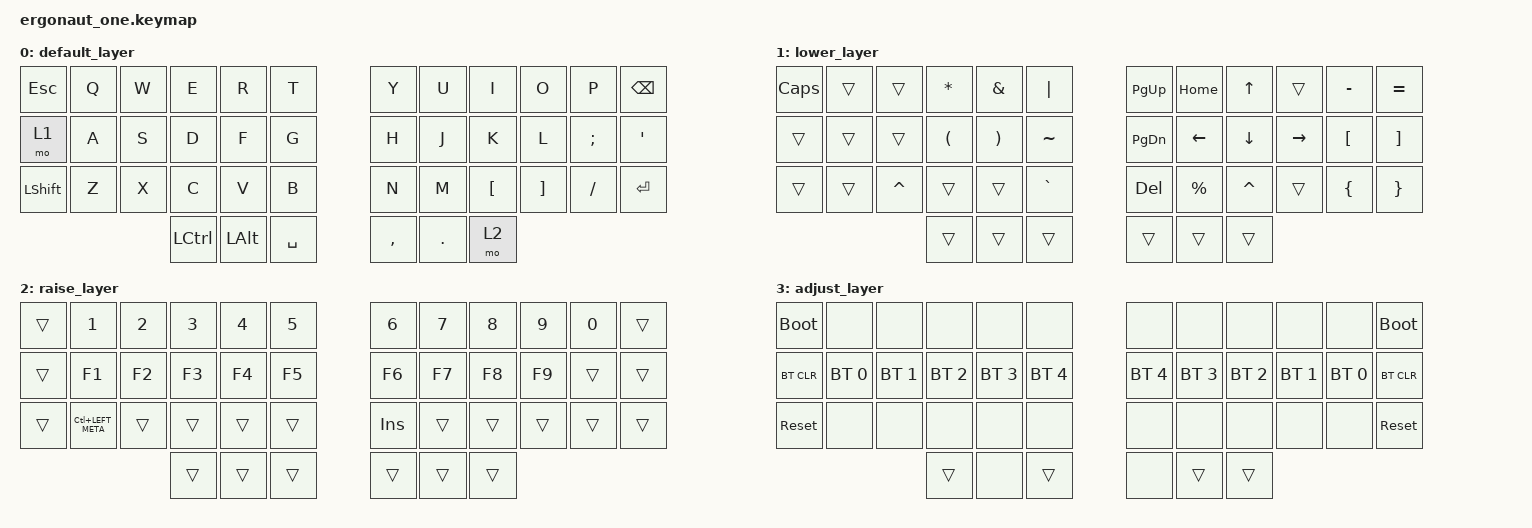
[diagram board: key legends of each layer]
#include <behaviors.dtsi>
#include <dt-bindings/zmk/bt.h>
#include <dt-bindings/zmk/keys.h>

#define DEF 0
#define LWR 1
#define RSE 2
#define ADJ 3

&lt { quick-tap-ms = <200>; };

&mt { quick-tap-ms = <200>; };

/ {
    conditional_layers {
        compatible = "zmk,conditional-layers";

        tri-layer {
            if-layers = <1 2>;
            then-layer = <3>;
        };
    };

    keymap {
        compatible = "zmk,keymap";

        default_layer {
            bindings = <
&kp ESC         &kp Q  &kp W  &kp E      &kp R         &kp T      &kp Y      &kp U       &kp I             &kp O              &kp P     &kp BACKSPACE
&mo 1           &kp A  &kp S  &kp D      &kp F         &kp G      &kp H      &kp J       &kp K             &kp L              &kp SEMI  &kp APOS
&kp LEFT_SHIFT  &kp Z  &kp X  &kp C      &kp V         &kp B      &kp N      &kp M       &kp LEFT_BRACKET  &kp RIGHT_BRACKET  &kp FSLH  &kp ENTER
                              &kp LCTRL  &kp LEFT_ALT  &kp SPACE  &kp COMMA  &kp PERIOD  &mo 2
            >;
        };

        lower_layer {
            bindings = <
&kp CAPS  &trans  &trans     &kp ASTERISK          &kp AMPERSAND          &kp PIPE   &kp PAGE_UP    &kp HOME        &kp UP_ARROW    &trans           &kp MINUS         &kp EQUAL
&trans    &trans  &trans     &kp LEFT_PARENTHESIS  &kp RIGHT_PARENTHESIS  &kp TILDE  &kp PAGE_DOWN  &kp LEFT_ARROW  &kp DOWN_ARROW  &kp RIGHT_ARROW  &kp LEFT_BRACKET  &kp RIGHT_BRACKET
&trans    &trans  &kp CARET  &trans                &trans                 &kp GRAVE  &kp DEL        &kp PERCENT     &kp CARET       &trans           &kp LEFT_BRACE    &kp RIGHT_BRACE
                             &trans                &trans                 &trans     &trans         &trans          &trans
            >;
        };

        raise_layer {
            bindings = <
&trans  &kp NUMBER_1       &kp NUMBER_2  &kp NUMBER_3  &kp NUMBER_4  &kp N5  &kp NUMBER_6  &kp N7  &kp N8  &kp N9  &kp NUMBER_0  &trans
&trans  &kp F1             &kp F2        &kp F3        &kp F4        &kp F5  &kp F6        &kp F7  &kp F8  &kp F9  &trans        &trans
&trans  &kp LC(LEFT_META)  &trans        &trans        &trans        &trans  &kp INS       &trans  &trans  &trans  &trans        &trans
                                         &trans        &trans        &trans  &trans        &trans  &trans
            >;
        };

        adjust_layer {
            bindings = <
&bootloader  &none         &none         &none         &none         &none         &none         &none         &none         &none         &none         &bootloader
&bt BT_CLR   &bt BT_SEL 0  &bt BT_SEL 1  &bt BT_SEL 2  &bt BT_SEL 3  &bt BT_SEL 4  &bt BT_SEL 4  &bt BT_SEL 3  &bt BT_SEL 2  &bt BT_SEL 1  &bt BT_SEL 0  &bt BT_CLR
&sys_reset   &none         &none         &none         &none         &none         &none         &none         &none         &none         &none         &sys_reset
                                         &trans        &none         &trans        &none         &trans        &trans
            >;
        };
    };
};
